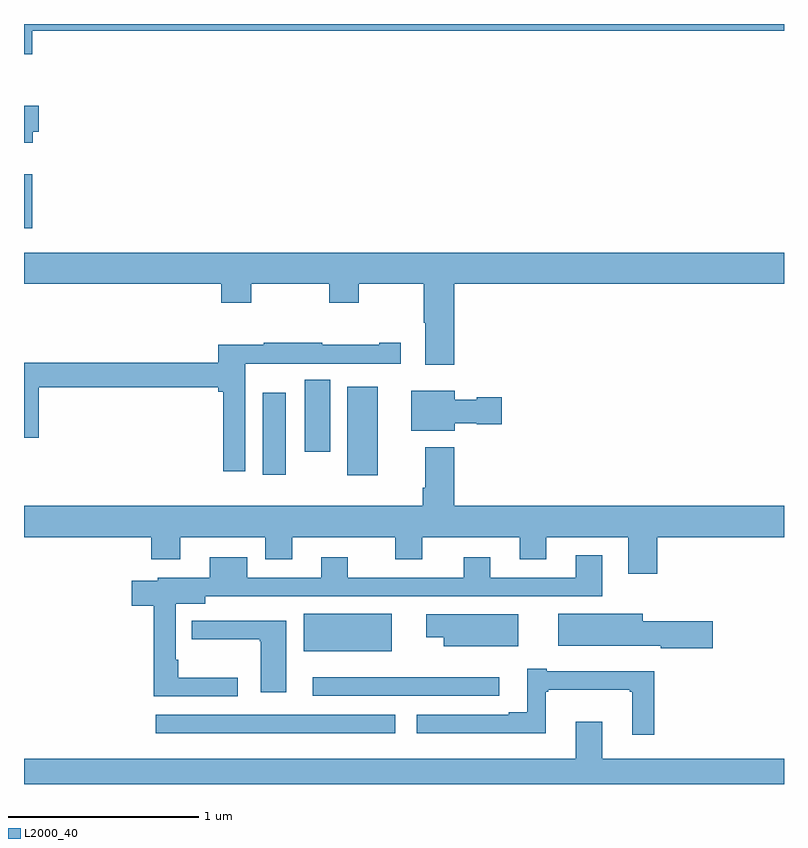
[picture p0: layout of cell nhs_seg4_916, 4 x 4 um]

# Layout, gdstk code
import gdstk
lib = gdstk.Library(unit=1e-6, precision=1e-09)
def R(c, l, rs):  # rectangles x0, y0, x1, y1
    for r in rs: c.add(gdstk.rectangle(r[:2], r[2:], *l))
def P(c, l, *ps):  # polygons
    for p in ps: c.add(gdstk.Polygon(p, *l))
L2000_40 = (2000, 40)

nhs_seg4_916 = lib.new_cell('nhs_seg4_916')
R(nhs_seg4_916, L2000_40, [(159.693,749.168,160.954,749.265), (160.521,749.364,161.5,749.461), (160.472,749.6,160.936,749.797), (160.7,750.525,160.861,750.991), (160.256,750.528,160.378,750.958), (160.478,750.648,160.612,751.028), (159,751.824,159.044,752.11)])
P(nhs_seg4_916, L2000_40, [(159.044,752.864),(163,752.864),(163,752.9),(159,752.9),(159,752.74),(159.044,752.74)],
  [(159.046,752.334),(159.077,752.334),(159.077,752.47),(159,752.47),(159,752.276),(159.046,752.276)],
  [(161.264,751.532),(163,751.532),(163,751.696),(159,751.696),(159,751.532),(160.037,751.532),(160.037,751.433),(160.197,751.433),(160.197,751.532),(160.606,751.532),(160.606,751.433),(160.761,751.433),(160.761,751.532),(161.104,751.532),(161.104,751.328),(161.111,751.328),(161.111,751.107),(161.264,751.107)],
  [(160.164,751.112),(160.374,751.112),(160.374,751.113),(160.984,751.113),(160.984,751.222),(160.871,751.222),(160.871,751.212),(160.571,751.212),(160.571,751.222),(160.261,751.222),(160.261,751.212),(160.022,751.212),(160.022,751.117),(159,751.117),(159,750.723),(159.077,750.723),(159.077,750.988),(160.022,750.988),(160.022,750.965),(160.048,750.965),(160.048,750.546),(160.164,750.546)],
  [(161.266,750.8),(161.382,750.8),(161.382,750.793),(161.515,750.793),(161.515,750.935),(161.382,750.935),(161.382,750.922),(161.266,750.922),(161.266,750.97),(161.039,750.97),(161.039,750.758),(161.266,750.758)],
  [(162.332,750.2),(163,750.2),(163,750.364),(161.264,750.364),(161.264,750.673),(161.111,750.673),(161.111,750.46),(161.099,750.46),(161.099,750.364),(159,750.364),(159,750.2),(159.671,750.2),(159.671,750.083),(159.823,750.083),(159.823,750.2),(160.271,750.2),(160.271,750.083),(160.411,750.083),(160.411,750.2),(160.955,750.2),(160.955,750.083),(161.095,750.083),(161.095,750.2),(161.609,750.2),(161.609,750.083),(161.749,750.083),(161.749,750.2),(162.179,750.2),(162.179,750.006),(162.332,750.006)],
  [(160.126,749.459),(159.811,749.459),(159.811,749.554),(159.798,749.554),(159.798,749.849),(159.955,749.849),(159.955,749.889),(162.043,749.889),(162.043,750.103),(161.903,750.103),(161.903,749.985),(161.455,749.985),(161.455,750.094),(161.315,750.094),(161.315,749.985),(160.705,749.985),(160.705,750.094),(160.565,750.094),(160.565,749.985),(160.174,749.985),(160.174,750.094),(159.977,750.094),(159.977,749.985),(159.705,749.985),(159.705,749.971),(159.567,749.971),(159.567,749.837),(159.682,749.837),(159.682,749.361),(160.126,749.361)],
  [(162.625,749.757),(162.256,749.757),(162.256,749.797),(161.813,749.797),(161.813,749.627),(162.352,749.627),(162.352,749.615),(162.625,749.615)],
  [(161.602,749.794),(161.118,749.794),(161.118,749.672),(161.21,749.672),(161.21,749.624),(161.602,749.624)],
  [(160.381,749.76),(159.883,749.76),(159.883,749.663),(160.24,749.663),(160.24,749.652),(160.247,749.652),(160.247,749.382),(160.381,749.382)],
  [(162.317,749.494),(161.752,749.494),(161.752,749.506),(161.648,749.506),(161.648,749.278),(161.552,749.278),(161.552,749.265),(161.067,749.265),(161.067,749.168),(161.746,749.168),(161.746,749.385),(161.758,749.385),(161.758,749.396),(162.189,749.396),(162.189,749.385),(162.2,749.385),(162.2,749.16),(162.317,749.16)],
  [(163,749.032),(162.043,749.032),(162.043,749.227),(161.903,749.227),(161.903,749.032),(159,749.032),(159,748.9),(163,748.9)])

lib.write_gds('nhs_seg4_916.gds')
